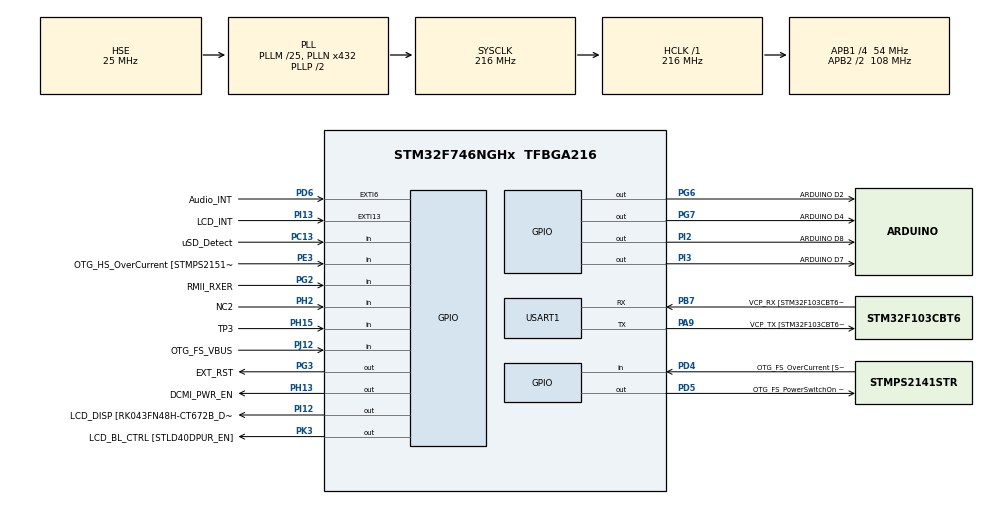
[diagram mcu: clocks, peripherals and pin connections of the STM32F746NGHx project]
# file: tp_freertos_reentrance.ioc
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FREERTOS.Tasks01=defaultTask,0,128,StartDefaultTask,Default,NULL,Dynamic,NULL,NULL
Mcu.Family=STM32F7
Mcu.Name=STM32F746NGHx
Mcu.Package=TFBGA216
NVIC.PriorityGroup=NVIC_PRIORITYGROUP_4
PA0/WKUP.GPIO_Label=ARDUINO A0
PA0/WKUP.GPIO_Mode=GPIO_MODE_ANALOG
PA0/WKUP.GPIO_PuPd=GPIO_NOPULL
PA0/WKUP.Signal=ADCx_IN0
PA1.GPIO_Label=RMII_REF_CLK [LAN8742A-CZ-TR_REFCLK0]
PA1.Signal=ETH_REF_CLK
PA10.GPIO_Label=OTG_FS_ID
PA10.Signal=USB_OTG_FS_ID
PA11.GPIO_Label=OTG_FS_N
PA11.Signal=USB_OTG_FS_DM
PA12.GPIO_Label=OTG_FS_P
PA12.Signal=USB_OTG_FS_DP
PA13.GPIO_Label=SWDIO
PA13.Mode=Serial_Wire
PA13.Signal=SYS_JTMS-SWDIO
PA14.GPIO_Label=SWCLK
PA14.Mode=Serial_Wire
PA14.Signal=SYS_JTCK-SWCLK
PA15.GPIO_Label=ARDUINO PWM/D9
PA15.GPIO_ModeDefaultPP=GPIO_MODE_AF_PP
PA15.GPIO_PuPd=GPIO_NOPULL
PA15.GPIO_Speed=GPIO_SPEED_FREQ_LOW
PA15.Signal=S_TIM2_CH1_ETR
PA2.GPIO_Label=RMII_MDIO [LAN8742A-CZ-TR_MDIO]
PA2.Signal=ETH_MDIO
PA3.GPIO_Label=ULPI_D0 [USB3320C-EZK_D0]
PA3.Signal=USB_OTG_HS_ULPI_D0
PA4.GPIO_Label=DCMI_HSYNC
PA4.Signal=DCMI_HSYNC
PA5.GPIO_Label=ULPI_CLK [USB3320C-EZK_CLKOUT]
PA5.Signal=USB_OTG_HS_ULPI_CK
PA6.Signal=DCMI_PIXCLK
PA7.GPIO_Label=RMII_CRS_DV [LAN8742A-CZ-TR_CRS_DV]
PA7.Signal=ETH_CRS_DV
PA8.GPIO_Label=ARDUINO PWM/D10
PA8.GPIO_ModeDefaultPP=GPIO_MODE_AF_PP
PA8.GPIO_PuPd=GPIO_NOPULL
PA8.GPIO_Speed=GPIO_SPEED_FREQ_LOW
PA8.Signal=S_TIM1_CH1
PA9.GPIO_Label=VCP_TX [STM32F103CBT6_PA3]
PA9.GPIO_Mode=GPIO_MODE_AF_PP
PA9.GPIO_PuPd=GPIO_NOPULL
PA9.GPIO_Speed=GPIO_SPEED_FREQ_LOW
PA9.Mode=Asynchronous
PA9.Signal=USART1_TX
PB0.GPIO_Label=ULPI_D1 [USB3320C-EZK_D1]
PB0.Signal=USB_OTG_HS_ULPI_D1
PB1.GPIO_Label=ULPI_D2 [USB3320C-EZK_D2]
PB1.Signal=USB_OTG_HS_ULPI_D2
PB10.GPIO_Label=ULPI_D3 [USB3320C-EZK_D3]
PB10.Signal=USB_OTG_HS_ULPI_D3
PB11.GPIO_Label=ULPI_D4 [USB3320C-EZK_D4]
PB11.Signal=USB_OTG_HS_ULPI_D4
PB12.GPIO_Label=ULPI_D5 [USB3320C-EZK_D5]
PB12.Signal=USB_OTG_HS_ULPI_D5
PB13.GPIO_Label=ULPI_D6 [USB3320C-EZK_D6]
PB13.Signal=USB_OTG_HS_ULPI_D6
PB14.GPIO_Label=ARDUINO MISO/D12
PB14.GPIO_Mode=GPIO_MODE_AF_PP
PB14.GPIO_PuPd=GPIO_NOPULL
PB14.GPIO_Speed=GPIO_SPEED_FREQ_LOW
PB14.Signal=SPI2_MISO
PB15.GPIO_Label=ARDUINO MOSI/PWM/D11
PB15.GPIO_Mode=GPIO_MODE_AF_PP
PB15.GPIO_PuPd=GPIO_NOPULL
PB15.GPIO_Speed=GPIO_SPEED_FREQ_LOW
PB15.Signal=SPI2_MOSI
PB2.Signal=QUADSPI_CLK
PB3.GPIO_Label=SWO
PB3.Signal=SYS_JTDO-SWO
PB4.GPIO_Label=ARDUINO PWM/D3
PB4.GPIO_ModeDefaultPP=GPIO_MODE_AF_PP
PB4.GPIO_PuPd=GPIO_NOPULL
PB4.GPIO_Speed=GPIO_SPEED_FREQ_LOW
PB4.Signal=S_TIM3_CH1
PB5.GPIO_Label=ULPI_D7 [USB3320C-EZK_D7]
PB5.Signal=USB_OTG_HS_ULPI_D7
PB6.GPIO_Label=QSPI_NCS [N25Q128A13EF840E_S]
PB6.Signal=QUADSPI_BK1_NCS
PB7.GPIO_Label=VCP_RX [STM32F103CBT6_PA2]
PB7.GPIO_Mode=GPIO_MODE_AF_PP
PB7.GPIO_PuPd=GPIO_NOPULL
PB7.GPIO_Speed=GPIO_SPEED_FREQ_LOW
PB7.Mode=Asynchronous
PB7.Signal=USART1_RX
PB8.GPIO_Label=ARDUINO SCL/D15
PB8.GPIO_Mode=GPIO_MODE_AF_OD
PB8.GPIO_PuPd=GPIO_NOPULL
PB8.GPIO_Speed=GPIO_SPEED_FREQ_LOW
PB8.Signal=I2C1_SCL
PB9.GPIO_Label=ARDUINO SDA/D14
PB9.GPIO_Mode=GPIO_MODE_AF_OD
PB9.GPIO_PuPd=GPIO_NOPULL
PB9.GPIO_Speed=GPIO_SPEED_FREQ_LOW
PB9.Signal=I2C1_SDA
PC0.GPIO_Label=ULPI_STP [USB3320C-EZK_STP]
PC0.Signal=USB_OTG_HS_ULPI_STP
PC1.GPIO_Label=RMII_MDC [LAN8742A-CZ-TR_MDC]
PC1.Signal=ETH_MDC
PC10.GPIO_Label=SDMMC_D2
PC10.Signal=SDMMC1_D2
PC11.GPIO_Label=SDMMC_D3
PC11.Signal=SDMMC1_D3
PC12.GPIO_Label=SDMMC_CK
PC12.Signal=SDMMC1_CK
PC13.GPIO_Label=uSD_Detect
PC13.Signal=GPIO_Input
PC14/OSC32_IN.GPIO_Label=RCC_OSC32_IN
PC14/OSC32_IN.Signal=RCC_OSC32_IN
PC15/OSC32_OUT.GPIO_Label=RCC_OSC32_OUT
PC15/OSC32_OUT.Signal=RCC_OSC32_OUT
PC2.GPIO_Label=ULPI_DIR [USB3320C-EZK_DIR]
PC2.Signal=USB_OTG_HS_ULPI_DIR
PC3.GPIO_Label=FMC_SDCKE0 [MT48LC4M32B2B5-6A_CKE]
PC3.Signal=FMC_SDCKE0
PC4.GPIO_Label=RMII_RXD0 [LAN8742A-CZ-TR_RXD0]
PC4.Signal=ETH_RXD0
PC5.GPIO_Label=RMII_RXD1 [LAN8742A-CZ-TR_RXD1]
PC5.Signal=ETH_RXD1
PC6.GPIO_Label=ARDUINO TX/D1
PC6.Signal=USART6_TX
PC7.GPIO_Label=ARDUINO RX/D0
PC7.Signal=USART6_RX
PC8.Signal=SDMMC1_D0
PC9.Signal=SDMMC1_D1
PD0.GPIO_Label=FMC_D2 [MT48LC4M32B2B5-6A_DQ2]
PD0.Signal=FMC_D2_DA2
PD1.GPIO_Label=FMC_D3 [MT48LC4M32B2B5-6A_DQ3]
PD1.Signal=FMC_D3_DA3
PD10.GPIO_Label=FMC_D15 [MT48LC4M32B2B5-6A_DQ15]
PD10.Signal=FMC_D15_DA15
PD11.GPIO_Label=QSPI_D0 [N25Q128A13EF840E_DQ0]
PD11.Signal=QUADSPI_BK1_IO0
PD12.GPIO_Label=QSPI_D1 [N25Q128A13EF840E_DQ1]
PD12.Signal=QUADSPI_BK1_IO1
PD13.GPIO_Label=QSPI_D3 [N25Q128A13EF840E_DQ3]
PD13.Signal=QUADSPI_BK1_IO3
PD14.GPIO_Label=FMC_D0 [MT48LC4M32B2B5-6A_DQ0]
PD14.Signal=FMC_D0_DA0
PD15.GPIO_Label=FMC_D1 [MT48LC4M32B2B5-6A_DQ1]
PD15.Signal=FMC_D1_DA1
PD2.GPIO_Label=SDMMC_D0
PD2.Signal=SDMMC1_CMD
PD3.GPIO_Label=DCMI_D5
PD3.Signal=DCMI_D5
PD4.GPIO_Label=OTG_FS_OverCurrent [STMPS2141STR_Fault]
PD4.Signal=GPIO_Input
PD5.GPIO_Label=OTG_FS_PowerSwitchOn [STMPS2141STR_EN]
PD5.PinState=GPIO_PIN_SET
PD5.Signal=GPIO_Output
PD6.GPIO_Label=Audio_INT
PD6.GPIO_ModeDefaultEXTI=GPIO_MODE_EVT_RISING
PD6.Signal=GPXTI6
PD7.GPIO_Label=SPDIF_RX0 [74LVC1G04SE_4]
PD7.Signal=SPDIFRX_IN0
PD8.GPIO_Label=FMC_D13 [MT48LC4M32B2B5-6A_DQ13]
PD8.Signal=FMC_D13_DA13
PD9.GPIO_Label=FMC_D14 [MT48LC4M32B2B5-6A_DQ14]
PD9.Signal=FMC_D14_DA14
PE0.GPIO_Label=FMC_NBL0 [MT48LC4M32B2B5-6A_DQM0]
PE0.Signal=FMC_NBL0
PE1.GPIO_Label=FMC_NBL1 [MT48LC4M32B2B5-6A_DQM1]
PE1.Signal=FMC_NBL1
PE10.GPIO_Label=FMC_D7 [MT48LC4M32B2B5-6A_DQ7]
PE10.Signal=FMC_D7_DA7
PE11.GPIO_Label=FMC_D8 [MT48LC4M32B2B5-6A_DQ8]
PE11.Signal=FMC_D8_DA8
PE12.GPIO_Label=FMC_D9 [MT48LC4M32B2B5-6A_DQ9]
PE12.Signal=FMC_D9_DA9
PE13.GPIO_Label=FMC_D10 [MT48LC4M32B2B5-6A_DQ10]
PE13.Signal=FMC_D10_DA10
PE14.GPIO_Label=FMC_D11 [MT48LC4M32B2B5-6A_DQ11]
PE14.Signal=FMC_D11_DA11
PE15.GPIO_Label=FMC_D12 [MT48LC4M32B2B5-6A_DQ12]
PE15.Signal=FMC_D12_DA12
PE2.GPIO_Label=QSPI_D2 [N25Q128A13EF840E_DQ2]
PE2.Signal=QUADSPI_BK1_IO2
PE3.GPIO_Label=OTG_HS_OverCurrent [STMPS2151STR_FAULT]
PE3.Signal=GPIO_Input
PE4.GPIO_Label=LCD_B0 [RK043FN48H-CT672B_B0]
PE4.Signal=LTDC_B0
PE5.GPIO_Label=DCMI_D6
PE5.Signal=DCMI_D6
PE6.GPIO_Label=DCMI_D7
PE6.Signal=DCMI_D7
PE7.GPIO_Label=FMC_D4 [MT48LC4M32B2B5-6A_DQ4]
PE7.Signal=FMC_D4_DA4
PE8.GPIO_Label=FMC_D5 [MT48LC4M32B2B5-6A_DQ5]
PE8.Signal=FMC_D5_DA5
PE9.GPIO_Label=FMC_D6 [MT48LC4M32B2B5-6A_DQ6]
PE9.Signal=FMC_D6_DA6
PF0.GPIO_Label=FMC_A0 [MT48LC4M32B2B5-6A_A0]
PF0.Signal=FMC_A0
PF1.GPIO_Label=FMC_A1 [MT48LC4M32B2B5-6A_A1]
PF1.Signal=FMC_A1
PF10.GPIO_Label=ARDUINO A1
PF10.GPIO_Mode=GPIO_MODE_ANALOG
PF10.GPIO_PuPd=GPIO_NOPULL
PF10.Signal=ADC3_IN8
PF11.GPIO_Label=FMC_SDNRAS [MT48LC4M32B2B5-6A_RAS]
PF11.Signal=FMC_SDNRAS
PF12.GPIO_Label=FMC_A6 [MT48LC4M32B2B5-6A_A6]
PF12.Signal=FMC_A6
PF13.GPIO_Label=FMC_A7 [MT48LC4M32B2B5-6A_A7]
PF13.Signal=FMC_A7
PF14.GPIO_Label=FMC_A8 [MT48LC4M32B2B5-6A_A8]
PF14.Signal=FMC_A8
PF15.GPIO_Label=FMC_A9 [MT48LC4M32B2B5-6A_A9]
PF15.Signal=FMC_A9
PF2.GPIO_Label=FMC_A2 [MT48LC4M32B2B5-6A_A2]
PF2.Signal=FMC_A2
PF3.GPIO_Label=FMC_A3 [MT48LC4M32B2B5-6A_A3]
PF3.Signal=FMC_A3
PF4.GPIO_Label=FMC_A4 [MT48LC4M32B2B5-6A_A4]
PF4.Signal=FMC_A4
PF5.GPIO_Label=FMC_A5 [MT48LC4M32B2B5-6A_A5]
PF5.Signal=FMC_A5
PF6.GPIO_Label=ARDUINO A5
PF6.GPIO_Mode=GPIO_MODE_ANALOG
PF6.GPIO_PuPd=GPIO_NOPULL
PF6.Signal=ADC3_IN4
PF7.GPIO_Label=ARDUINO A4
PF7.GPIO_Mode=GPIO_MODE_ANALOG
PF7.GPIO_PuPd=GPIO_NOPULL
PF7.Signal=ADC3_IN5
PF8.GPIO_Label=ARDUINO A3
PF8.GPIO_Mode=GPIO_MODE_ANALOG
PF8.GPIO_PuPd=GPIO_NOPULL
PF8.Signal=ADC3_IN6
PF9.GPIO_Label=ARDUINO A2
PF9.GPIO_Mode=GPIO_MODE_ANALOG
PF9.GPIO_PuPd=GPIO_NOPULL
PF9.Signal=ADC3_IN7
PG0.GPIO_Label=FMC_A10 [MT48LC4M32B2B5-6A_A10]
PG0.Signal=FMC_A10
PG1.GPIO_Label=FMC_A11 [MT48LC4M32B2B5-6A_A11]
PG1.Signal=FMC_A11
PG10.GPIO_Label=SAI2_SDB [WM8994ECS/R_ADCDAT1]
PG10.Signal=SAI2_SD_B
PG11.GPIO_Label=RMII_TX_EN [LAN8742A-CZ-TR_TXEN]
PG11.Signal=ETH_TX_EN
PG12.GPIO_Label=LCD_B4 [RK043FN48H-CT672B_B4]
PG12.Signal=LTDC_B4
PG13.GPIO_Label=RMII_TXD0 [LAN8742A-CZ-TR_TXD0]
PG13.Signal=ETH_TXD0
PG14.GPIO_Label=RMII_TXD1 [LAN8742A-CZ-TR_TXD1]
PG14.Signal=ETH_TXD1
PG15.GPIO_Label=FMC_SDNCAS [MT48LC4M32B2B5-6A_CAS]
PG15.Signal=FMC_SDNCAS
PG2.GPIO_Label=RMII_RXER
PG2.Signal=GPIO_Input
PG3.GPIO_Label=EXT_RST
PG3.Signal=GPIO_Output
PG4.GPIO_Label=FMC_BA0 [MT48LC4M32B2B5-6A_BA0]
PG4.Signal=FMC_A14_BA0
PG5.GPIO_Label=FMC_BA1 [MT48LC4M32B2B5-6A_BA1]
PG5.Signal=FMC_A15_BA1
PG6.GPIO_Label=ARDUINO D2
PG6.Signal=GPIO_Output
PG7.GPIO_Label=ARDUINO D4
PG7.Signal=GPIO_Output
PG8.GPIO_Label=FMC_SDCLK [MT48LC4M32B2B5-6A_CLK]
PG8.Signal=FMC_SDCLK
PG9.GPIO_Label=DCMI_VSYNC
PG9.Signal=DCMI_VSYNC
PH0/OSC_IN.GPIO_Label=OSC_25M [NZ2520SB-25.00M_OUT]
PH0/OSC_IN.Mode=HSE-External-Oscillator
PH0/OSC_IN.Signal=RCC_OSC_IN
PH1/OSC_OUT.Mode=HSE-External-Oscillator
PH1/OSC_OUT.Signal=RCC_OSC_OUT
PH10.GPIO_Label=DCMI_D1
PH10.Signal=DCMI_D1
PH11.GPIO_Label=DCMI_D2
PH11.Signal=DCMI_D2
PH12.GPIO_Label=DCMI_D3
PH12.Signal=DCMI_D3
PH13.GPIO_Label=DCMI_PWR_EN
PH13.Signal=GPIO_Output
PH14.GPIO_Label=DCMI_D4
PH14.Signal=DCMI_D4
PH15.GPIO_Label=TP3
PH15.Signal=GPIO_Input
PH2.GPIO_Label=NC2
PH2.Signal=GPIO_Input
PH3.GPIO_Label=FMC_SDNE0 [MT48LC4M32B2B5-6A_CS]
PH3.Signal=FMC_SDNE0
PH4.GPIO_Label=ULPI_NXT [USB3320C-EZK_NXT]
PH4.Signal=USB_OTG_HS_ULPI_NXT
PH5.GPIO_Label=FMC_SDNME [MT48LC4M32B2B5-6A_WE]
PH5.Signal=FMC_SDNWE
PH6.GPIO_Label=ARDUINO PWM/D6
PH6.Signal=S_TIM12_CH1
PH7.GPIO_Label=LCD_SCL [RK043FN48H-CT672B_SCL]
PH7.Signal=I2C3_SCL
PH8.GPIO_Label=LCD_SDA [RK043FN48H-CT672B_SDA]
PH8.Signal=I2C3_SDA
PH9.GPIO_Label=DCMI_D0
PH9.Signal=DCMI_D0
PI0.GPIO_Label=ARDUINO PWM/CS/D5
PI0.GPIO_ModeDefaultPP=GPIO_MODE_AF_PP
PI0.GPIO_PuPd=GPIO_NOPULL
PI0.GPIO_Speed=GPIO_SPEED_FREQ_LOW
PI0.Signal=S_TIM5_CH4
PI1.GPIO_Label=ARDUINO SCK/D13
PI1.GPIO_Mode=GPIO_MODE_AF_PP
PI1.GPIO_PuPd=GPIO_NOPULL
PI1.GPIO_Speed=GPIO_SPEED_FREQ_LOW
PI1.Signal=SPI2_SCK
PI10.GPIO_Label=LCD_HSYNC [RK043FN48H-CT672B_HSYNC]
PI10.Signal=LTDC_HSYNC
PI12.GPIO_Label=LCD_DISP [RK043FN48H-CT672B_DISP] 
PI12.Signal=GPIO_Output
PI13.GPIO_Label=LCD_INT
PI13.GPIO_ModeDefaultEXTI=GPIO_MODE_EVT_RISING
PI13.Signal=GPXTI13
PI14.GPIO_Label=LCD_CLK [RK043FN48H-CT672B_CLK]
PI14.Signal=LTDC_CLK
PI15.GPIO_Label=LCD_R0 [RK043FN48H-CT672B_R0]
PI15.Signal=LTDC_R0
PI2.GPIO_Label=ARDUINO D8
PI2.Signal=GPIO_Output
PI3.GPIO_Label=ARDUINO D7
PI3.Signal=GPIO_Output
PI4.GPIO_Label=SAI2_MCLKA [WM8994ECS/R_MCLK1]
PI4.Signal=SAI2_MCLK_A
PI5.GPIO_Label=SAI2_SCKA [WM8994ECS/R_BCLK1]
PI5.Signal=SAI2_SCK_A
PI6.GPIO_Label=SAI2_SDA [WM8994ECS/R_DACDAT1]
PI6.Signal=SAI2_SD_A
PI7.GPIO_Label=SAI2_FSA [WM8994ECS/R_LRCLK1]
PI7.Signal=SAI2_FS_A
PI8.GPIO_Label=NC1 [TP2]
PI8.Signal=RTC_TS
PI9.GPIO_Label=LCD_VSYNC [RK043FN48H-CT672B_VSYNC]
PI9.Signal=LTDC_VSYNC
PJ0.GPIO_Label=LCD_R1 [RK043FN48H-CT672B_R1]
PJ0.Signal=LTDC_R1
PJ1.GPIO_Label=LCD_R2 [RK043FN48H-CT672B_R2]
PJ1.Signal=LTDC_R2
PJ10.GPIO_Label=LCD_G3 [RK043FN48H-CT672B_G3]
PJ10.Signal=LTDC_G3
PJ11.GPIO_Label=LCD_G4 [RK043FN48H-CT672B_G4]
PJ11.Signal=LTDC_G4
PJ12.GPIO_Label=OTG_FS_VBUS
PJ12.Signal=GPIO_Input
PJ13.GPIO_Label=LCD_B1 [RK043FN48H-CT672B_B1]
PJ13.Signal=LTDC_B1
PJ14.GPIO_Label=LCD_B2 [RK043FN48H-CT672B_B2]
PJ14.Signal=LTDC_B2
PJ15.GPIO_Label=LCD_B3 [RK043FN48H-CT672B_B3]
PJ15.Signal=LTDC_B3
PJ2.GPIO_Label=LCD_R3 [RK043FN48H-CT672B_R3]
PJ2.Signal=LTDC_R3
PJ3.GPIO_Label=LCD_R4 [RK043FN48H-CT672B_R4]
PJ3.Signal=LTDC_R4
PJ4.GPIO_Label=LCD_R5 [RK043FN48H-CT672B_R5]
PJ4.Signal=LTDC_R5
PJ5.GPIO_Label=LCD_R6 [RK043FN48H-CT672B_R6]
PJ5.Signal=LTDC_R6
PJ6.GPIO_Label=LCD_R7 [RK043FN48H-CT672B_R7]
PJ6.Signal=LTDC_R7
PJ7.GPIO_Label=LCD_G0 [RK043FN48H-CT672B_G0]
PJ7.Signal=LTDC_G0
PJ8.GPIO_Label=LCD_G1 [RK043FN48H-CT672B_G1]
PJ8.Signal=LTDC_G1
PJ9.GPIO_Label=LCD_G2 [RK043FN48H-CT672B_G2]
PJ9.Signal=LTDC_G2
PK0.GPIO_Label=LCD_G5 [RK043FN48H-CT672B_G5]
PK0.Signal=LTDC_G5
PK1.GPIO_Label=LCD_G6 [RK043FN48H-CT672B_G6]
PK1.Signal=LTDC_G6
PK2.GPIO_Label=LCD_G7 [RK043FN48H-CT672B_G7]
PK2.Signal=LTDC_G7
PK3.GPIO_Label=LCD_BL_CTRL [STLD40DPUR_EN]
PK3.Signal=GPIO_Output
PK4.GPIO_Label=LCD_B5 [RK043FN48H-CT672B_B5]
PK4.Signal=LTDC_B5
PK5.GPIO_Label=LCD_B6 [RK043FN48H-CT672B_B6]
PK5.Signal=LTDC_B6
PK6.GPIO_Label=LCD_B7 [RK043FN48H-CT672B_B7]
PK6.Signal=LTDC_B7
PK7.GPIO_Label=LCD_DE [RK043FN48H-CT672B_DE]
PK7.Signal=LTDC_DE
ProjectManager.HeapSize=0x200
ProjectManager.StackSize=0x400
ProjectManager.TargetToolchain=Makefile
RCC.AHBFreq_Value=216000000
RCC.APB1CLKDivider=RCC_HCLK_DIV4
RCC.APB1Freq_Value=54000000
RCC.APB1TimFreq_Value=108000000
RCC.APB2CLKDivider=RCC_HCLK_DIV2
RCC.APB2Freq_Value=108000000
RCC.APB2TimFreq_Value=216000000
RCC.CortexFreq_Value=216000000
RCC.HCLKFreq_Value=216000000
RCC.HSE_VALUE=25000000
RCC.HSI_VALUE=16000000
RCC.LSE_VALUE=32768
RCC.PLLM=25
RCC.PLLN=432
RCC.PLLSourceVirtual=RCC_PLLSOURCE_HSE
RCC.SYSCLKFreq_VALUE=216000000
RCC.SYSCLKSource=RCC_SYSCLKSOURCE_PLLCLK
RCC.USBFreq_Value=216000000
RCC.VCOOutputFreq_Value=432000000
SH.ADCx_IN0.0=ADC3_IN0
SH.FMC_A0.0=FMC_A0
SH.FMC_A1.0=FMC_A1
SH.FMC_A10.0=FMC_A10
SH.FMC_A11.0=FMC_A11
SH.FMC_A14_BA0.0=FMC_BA0
SH.FMC_A15_BA1.0=FMC_BA1
SH.FMC_A2.0=FMC_A2
SH.FMC_A3.0=FMC_A3
SH.FMC_A4.0=FMC_A4
SH.FMC_A5.0=FMC_A5
SH.FMC_A6.0=FMC_A6
SH.FMC_A7.0=FMC_A7
SH.FMC_A8.0=FMC_A8
SH.FMC_A9.0=FMC_A9
SH.FMC_D0_DA0.0=FMC_D0
SH.FMC_D10_DA10.0=FMC_D10
SH.FMC_D11_DA11.0=FMC_D11
SH.FMC_D12_DA12.0=FMC_D12
SH.FMC_D13_DA13.0=FMC_D13
SH.FMC_D14_DA14.0=FMC_D14
SH.FMC_D15_DA15.0=FMC_D15
SH.FMC_D1_DA1.0=FMC_D1
SH.FMC_D2_DA2.0=FMC_D2
SH.FMC_D3_DA3.0=FMC_D3
SH.FMC_D4_DA4.0=FMC_D4
SH.FMC_D5_DA5.0=FMC_D5
SH.FMC_D6_DA6.0=FMC_D6
SH.FMC_D7_DA7.0=FMC_D7
SH.FMC_D8_DA8.0=FMC_D8
SH.FMC_D9_DA9.0=FMC_D9
SH.FMC_NBL0.0=FMC_NBL0
SH.FMC_NBL1.0=FMC_NBL1
SH.FMC_SDCLK.0=FMC_SDCLK
SH.FMC_SDNCAS.0=FMC_SDNCAS
SH.FMC_SDNRAS.0=FMC_SDNRAS
SH.FMC_SDNWE.0=FMC_SDNWE
SH.S_TIM12_CH1.0=TIM12_CH1
SH.S_TIM1_CH1.0=TIM1_CH1
SH.S_TIM2_CH1_ETR.0=TIM2_CH1
SH.S_TIM3_CH1.0=TIM3_CH1
SH.S_TIM5_CH4.0=TIM5_CH4
USART1.VirtualMode-Asynchronous=VM_ASYNC
VP_FREERTOS_VS_CMSIS_V1.Mode=CMSIS_V1
board=STM32F746G-DISCO

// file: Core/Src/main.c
/* USER CODE BEGIN Header */
/**
 ******************************************************************************
 * @file           : main.c
 * @brief          : Main program body
 ******************************************************************************
 * @attention
 *
 * Copyright (c) 2022 STMicroelectronics.
 * All rights reserved.
 *
 * This software is licensed under terms that can be found in the LICENSE file
 * in the root directory of this software component.
 * If no LICENSE file comes with this software, it is provided AS-IS.
 *
 ******************************************************************************
 */
/* USER CODE END Header */
#include "main.h"
#include "cmsis_os.h"
#include "usart.h"
#include "gpio.h"

/* USER CODE BEGIN Includes */
#include <stdio.h>
#include "FreeRTOS.h"
#include "semphr.h"
/* USER CODE END Includes */

/* USER CODE BEGIN PD */
#define STACK_SIZE 256

#define TASK1_PRIORITY 1
#define TASK2_PRIORITY 2

#define TASK1_DELAY 1
#define TASK2_DELAY 2
/* USER CODE END PD */

/* USER CODE BEGIN PV */
SemaphoreHandle_t xSemaphore;
/* USER CODE END PV */

void SystemClock_Config(void);
void MX_FREERTOS_Init(void);

/* USER CODE BEGIN 0 */
int __io_putchar(int ch)
{
	HAL_UART_Transmit(&huart1, (uint8_t *)&ch, 1, HAL_MAX_DELAY);
	return ch;
}

void task1(void * pvParameters)
{
	int delay = (int) pvParameters;

	for(;;)
	{
    xSemaphoreTake(xSemaphore,portMAX_DELAY);

		printf("Je suis la tache 1 et je m'endors pour %d ticks\r\n", delay);

    xSemaphoreGive(xSemaphore);

    vTaskDelay(delay);

	}
}

void task2(void * pvParameters)
{
	int delay = (int) pvParameters;

	for(;;)
	{
    xSemaphoreTake(xSemaphore,portMAX_DELAY);

		printf("Je suis la tache 2 et je m'endors pour %d ticks\r\n", delay);

    xSemaphoreGive(xSemaphore);

    vTaskDelay(delay);
	}
}
/* USER CODE END 0 */

int main(void)
{

  /* MCU Configuration--------------------------------------------------------*/

  /* Reset of all peripherals, Initializes the Flash interface and the Systick. */
  HAL_Init();

  /* Configure the system clock */
  SystemClock_Config();

  /* Initialize all configured peripherals */
  MX_GPIO_Init();
  MX_USART1_UART_Init();
  /* USER CODE BEGIN 2 */
	BaseType_t ret;
	TaskHandle_t h_task1 = NULL;
	TaskHandle_t h_task2 = NULL;

	/* Create the task, storing the handle. */
	ret = xTaskCreate(task1, "Tache 1", STACK_SIZE, (void *) TASK1_DELAY, TASK1_PRIORITY, &h_task1);
	configASSERT(pdPASS == ret);
	ret = xTaskCreate(task2, "Tache 2", STACK_SIZE, (void *) TASK2_DELAY, TASK2_PRIORITY, &h_task2);
	configASSERT(pdPASS == ret);

  /* Creation semaphore mutex*/
  xSemaphore = xSemaphoreCreateMutex();

	vTaskStartScheduler();
  /* USER CODE END 2 */

  /* Call init function for freertos objects (in freertos.c) */
  MX_FREERTOS_Init();

  /* Start scheduler */
  osKernelStart();
  /* We should never get here as control is now taken by the scheduler */
  /* Infinite loop */
	while (1)
	{

	}
}

void SystemClock_Config(void)
{
  RCC_OscInitTypeDef RCC_OscInitStruct = {0};
  RCC_ClkInitTypeDef RCC_ClkInitStruct = {0};

  /** Configure the main internal regulator output voltage
  */
  __HAL_RCC_PWR_CLK_ENABLE();
  __HAL_PWR_VOLTAGESCALING_CONFIG(PWR_REGULATOR_VOLTAGE_SCALE1);

  /** Initializes the RCC Oscillators according to the specified parameters
  * in the RCC_OscInitTypeDef structure.
  */
  RCC_OscInitStruct.OscillatorType = RCC_OSCILLATORTYPE_HSE;
  RCC_OscInitStruct.HSEState = RCC_HSE_ON;
  RCC_OscInitStruct.PLL.PLLState = RCC_PLL_ON;
  RCC_OscInitStruct.PLL.PLLSource = RCC_PLLSOURCE_HSE;
  RCC_OscInitStruct.PLL.PLLM = 25;
  RCC_OscInitStruct.PLL.PLLN = 432;
  RCC_OscInitStruct.PLL.PLLP = RCC_PLLP_DIV2;
  RCC_OscInitStruct.PLL.PLLQ = 2;
  if (HAL_RCC_OscConfig(&RCC_OscInitStruct) != HAL_OK)
  {
    Error_Handler();
  }

  /** Activate the Over-Drive mode
  */
  if (HAL_PWREx_EnableOverDrive() != HAL_OK)
  {
    Error_Handler();
  }

  /** Initializes the CPU, AHB and APB buses clocks
  */
  RCC_ClkInitStruct.ClockType = RCC_CLOCKTYPE_HCLK|RCC_CLOCKTYPE_SYSCLK
                              |RCC_CLOCKTYPE_PCLK1|RCC_CLOCKTYPE_PCLK2;
  RCC_ClkInitStruct.SYSCLKSource = RCC_SYSCLKSOURCE_PLLCLK;
  RCC_ClkInitStruct.AHBCLKDivider = RCC_SYSCLK_DIV1;
  RCC_ClkInitStruct.APB1CLKDivider = RCC_HCLK_DIV4;
  RCC_ClkInitStruct.APB2CLKDivider = RCC_HCLK_DIV2;

  if (HAL_RCC_ClockConfig(&RCC_ClkInitStruct, FLASH_LATENCY_7) != HAL_OK)
  {
    Error_Handler();
  }
}

void Error_Handler(void)
{
	__disable_irq();
	while (1)
	{
	}
}
